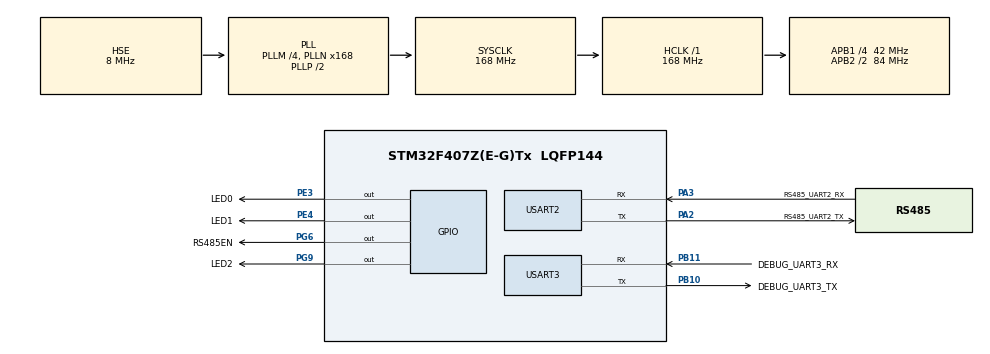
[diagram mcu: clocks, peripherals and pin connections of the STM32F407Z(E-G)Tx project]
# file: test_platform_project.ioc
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FREERTOS.Mutexes01=MutexPrintf,Dynamic,NULL
FREERTOS.Tasks01=defaultTask,0,128,StartDefaultTask,Default,NULL
FREERTOS.configUSE_IDLE_HOOK=1
FREERTOS.configUSE_MALLOC_FAILED_HOOK=1
FREERTOS.configUSE_TICK_HOOK=1
FREERTOS.configUSE_TIMERS=1
Mcu.Family=STM32F4
Mcu.Name=STM32F407Z(E-G)Tx
Mcu.Package=LQFP144
NVIC.PriorityGroup=NVIC_PRIORITYGROUP_4
NVIC.TIM7_IRQn=true\:0\:0\:false\:false\:true\:false\:false\:true
NVIC.TimeBase=TIM7_IRQn
NVIC.TimeBaseIP=TIM7
NVIC.USART2_IRQn=true\:5\:0\:false\:false\:true\:true\:true\:true
NVIC.USART3_IRQn=true\:5\:0\:false\:false\:true\:true\:true\:true
PA2.GPIO_Label=RS485_UART2_TX
PA2.Mode=Asynchronous
PA2.Signal=USART2_TX
PA3.GPIO_Label=RS485_UART2_RX
PA3.Mode=Asynchronous
PA3.Signal=USART2_RX
PB10.GPIO_Label=DEBUG_UART3_TX
PB10.Mode=Asynchronous
PB10.Signal=USART3_TX
PB11.GPIO_Label=DEBUG_UART3_RX
PB11.Mode=Asynchronous
PB11.Signal=USART3_RX
PE3.GPIO_Label=LED0
PE3.Signal=GPIO_Output
PE4.GPIO_Label=LED1
PE4.Signal=GPIO_Output
PG6.GPIO_Label=RS485EN
PG6.Signal=GPIO_Output
PG9.GPIO_Label=LED2
PG9.Signal=GPIO_Output
PH0-OSC_IN.Mode=HSE-External-Oscillator
PH0-OSC_IN.Signal=RCC_OSC_IN
PH1-OSC_OUT.Mode=HSE-External-Oscillator
PH1-OSC_OUT.Signal=RCC_OSC_OUT
ProjectManager.HeapSize=0x200
ProjectManager.StackSize=0x400
ProjectManager.TargetToolchain=MDK-ARM V5
RCC.48MHZClocksFreq_Value=84000000
RCC.AHBFreq_Value=168000000
RCC.APB1CLKDivider=RCC_HCLK_DIV4
RCC.APB1Freq_Value=42000000
RCC.APB1TimFreq_Value=84000000
RCC.APB2CLKDivider=RCC_HCLK_DIV2
RCC.APB2Freq_Value=84000000
RCC.APB2TimFreq_Value=168000000
RCC.CortexFreq_Value=168000000
RCC.HCLKFreq_Value=168000000
RCC.HSE_VALUE=8000000
RCC.HSI_VALUE=16000000
RCC.LSE_VALUE=32768
RCC.PLLM=4
RCC.PLLN=168
RCC.PLLSourceVirtual=RCC_PLLSOURCE_HSE
RCC.SYSCLKFreq_VALUE=168000000
RCC.SYSCLKSource=RCC_SYSCLKSOURCE_PLLCLK
RCC.VCOOutputFreq_Value=336000000
USART2.VirtualMode=VM_ASYNC
USART3.VirtualMode=VM_ASYNC
VP_FREERTOS_VS_CMSIS_V1.Mode=CMSIS_V1
VP_SYS_VS_tim7.Mode=TIM7
board=custom

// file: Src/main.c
/* USER CODE BEGIN Header */
/**
  ******************************************************************************
  * @file           : main.c
  * @brief          : Main program body
  ******************************************************************************
  * @attention
  *
  * <h2><center>&copy; Copyright (c) 2020 STMicroelectronics.
  * All rights reserved.</center></h2>
  *
  * This software component is licensed by ST under Ultimate Liberty license
  * SLA0044, the "License"; You may not use this file except in compliance with
  * the License. You may obtain a copy of the License at:
  *                             www.st.com/SLA0044
  *
  ******************************************************************************
  */
/* USER CODE END Header */

#include "main.h"
#include "cmsis_os.h"
#include "usart.h"
#include "gpio.h"

void SystemClock_Config(void);
void MX_FREERTOS_Init(void);

int main(void)
{

  /* MCU Configuration--------------------------------------------------------*/

  /* Reset of all peripherals, Initializes the Flash interface and the Systick. */
  HAL_Init();

  /* Configure the system clock */
  SystemClock_Config();

  /* Initialize all configured peripherals */
  MX_GPIO_Init();
  MX_USART2_UART_Init();
  MX_USART3_UART_Init();

  /* Call init function for freertos objects (in freertos.c) */
  MX_FREERTOS_Init();

  /* Start scheduler */
  osKernelStart();

  /* We should never get here as control is now taken by the scheduler */

  /* Infinite loop */
  while (1)
  {

  }
}

void SystemClock_Config(void)
{
  RCC_OscInitTypeDef RCC_OscInitStruct = {0};
  RCC_ClkInitTypeDef RCC_ClkInitStruct = {0};

  /** Configure the main internal regulator output voltage
  */
  __HAL_RCC_PWR_CLK_ENABLE();
  __HAL_PWR_VOLTAGESCALING_CONFIG(PWR_REGULATOR_VOLTAGE_SCALE1);
  /** Initializes the CPU, AHB and APB busses clocks
  */
  RCC_OscInitStruct.OscillatorType = RCC_OSCILLATORTYPE_HSE;
  RCC_OscInitStruct.HSEState = RCC_HSE_ON;
  RCC_OscInitStruct.PLL.PLLState = RCC_PLL_ON;
  RCC_OscInitStruct.PLL.PLLSource = RCC_PLLSOURCE_HSE;
  RCC_OscInitStruct.PLL.PLLM = 4;
  RCC_OscInitStruct.PLL.PLLN = 168;
  RCC_OscInitStruct.PLL.PLLP = RCC_PLLP_DIV2;
  RCC_OscInitStruct.PLL.PLLQ = 4;
  if (HAL_RCC_OscConfig(&RCC_OscInitStruct) != HAL_OK)
  {
    Error_Handler();
  }
  /** Initializes the CPU, AHB and APB busses clocks
  */
  RCC_ClkInitStruct.ClockType = RCC_CLOCKTYPE_HCLK|RCC_CLOCKTYPE_SYSCLK
                              |RCC_CLOCKTYPE_PCLK1|RCC_CLOCKTYPE_PCLK2;
  RCC_ClkInitStruct.SYSCLKSource = RCC_SYSCLKSOURCE_PLLCLK;
  RCC_ClkInitStruct.AHBCLKDivider = RCC_SYSCLK_DIV1;
  RCC_ClkInitStruct.APB1CLKDivider = RCC_HCLK_DIV4;
  RCC_ClkInitStruct.APB2CLKDivider = RCC_HCLK_DIV2;

  if (HAL_RCC_ClockConfig(&RCC_ClkInitStruct, FLASH_LATENCY_5) != HAL_OK)
  {
    Error_Handler();
  }
}

void HAL_TIM_PeriodElapsedCallback(TIM_HandleTypeDef *htim)
{
  if (htim->Instance == TIM7) {
    HAL_IncTick();
  }
}

void Error_Handler(void)
{
}

/************************ (C) COPYRIGHT STMicroelectronics *****END OF FILE****/

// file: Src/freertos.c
/* USER CODE BEGIN Header */
/**
  ******************************************************************************
  * File Name          : freertos.c
  * Description        : Code for freertos applications
  ******************************************************************************
  * @attention
  *
  * <h2><center>&copy; Copyright (c) 2020 STMicroelectronics.
  * All rights reserved.</center></h2>
  *
  * This software component is licensed by ST under Ultimate Liberty license
  * SLA0044, the "License"; You may not use this file except in compliance with
  * the License. You may obtain a copy of the License at:
  *                             www.st.com/SLA0044
  *
  ******************************************************************************
  */
/* USER CODE END Header */

#include "FreeRTOS.h"
#include "task.h"
#include "main.h"
#include "cmsis_os.h"

/* USER CODE BEGIN Includes */
#include "user_mb_app.h"
#include "rs485.h"
/* USER CODE END Includes */

/* USER CODE BEGIN PM */

void ModbusTestTask(void const * argument);
/* USER CODE END PM */

/* USER CODE BEGIN Variables */
osThreadId modbusTaskHandle;
/* USER CODE END Variables */
osThreadId defaultTaskHandle;
osMutexId MutexPrintfHandle;

void StartDefaultTask(void const * argument);

void MX_FREERTOS_Init(void); /* (MISRA C 2004 rule 8.1) */

/* Hook prototypes */
void vApplicationIdleHook(void);
void vApplicationTickHook(void);
void vApplicationMallocFailedHook(void);

/* USER CODE BEGIN 2 */
__weak void vApplicationIdleHook( void )
{
   /* vApplicationIdleHook() will only be called if configUSE_IDLE_HOOK is set
   to 1 in FreeRTOSConfig.h. It will be called on each iteration of the idle
   task. It is essential that code added to this hook function never attempts
   to block in any way (for example, call xQueueReceive() with a block time
   specified, or call vTaskDelay()). If the application makes use of the
   vTaskDelete() API function (as this demo application does) then it is also
   important that vApplicationIdleHook() is permitted to return to its calling
   function, because it is the responsibility of the idle task to clean up
   memory allocated by the kernel to any task that has since been deleted. */
	static uint8_t invers = 0;
	static uint32_t last_tick = 0;
	if(HAL_GetTick() > (last_tick + 500))
	{
//		sysStateLedCtrl(SYS_RUN_YLED, invers);
		HAL_GPIO_WritePin(LED0_GPIO_Port, LED0_Pin, (GPIO_PinState)invers);
		invers = (invers ^ 0x01) & 0x01;
		last_tick = HAL_GetTick();
//		eMBMasterReqWriteCoil(1,8,0xFF00,0xfffffff);
	}
}
/* USER CODE END 2 */

/* USER CODE BEGIN 3 */
__weak void vApplicationTickHook( void )
{
   /* This function will be called by each tick interrupt if
   configUSE_TICK_HOOK is set to 1 in FreeRTOSConfig.h. User code can be
   added here, but the tick hook is called from an interrupt context, so
   code must not attempt to block, and only the interrupt safe FreeRTOS API
   functions can be used (those that end in FromISR()). */
}
/* USER CODE END 3 */

/* USER CODE BEGIN 5 */
__weak void vApplicationMallocFailedHook(void)
{
   /* vApplicationMallocFailedHook() will only be called if
   configUSE_MALLOC_FAILED_HOOK is set to 1 in FreeRTOSConfig.h. It is a hook
   function that will get called if a call to pvPortMalloc() fails.
   pvPortMalloc() is called internally by the kernel whenever a task, queue,
   timer or semaphore is created. It is also called by various parts of the
   demo application. If heap_1.c or heap_2.c are used, then the size of the
   heap available to pvPortMalloc() is defined by configTOTAL_HEAP_SIZE in
   FreeRTOSConfig.h, and the xPortGetFreeHeapSize() API function can be used
   to query the size of free heap space that remains (although it does not
   provide information on how the remaining heap might be fragmented). */
}
/* USER CODE END 5 */

void MX_FREERTOS_Init(void) {

  /* Create the mutex(es) */
  /* definition and creation of MutexPrintf */
  osMutexDef(MutexPrintf);
  MutexPrintfHandle = osMutexCreate(osMutex(MutexPrintf));

  /* Create the thread(s) */
  /* definition and creation of defaultTask */
  osThreadDef(defaultTask, StartDefaultTask, osPriorityNormal, 0, 1024);
  defaultTaskHandle = osThreadCreate(osThread(defaultTask), NULL);

   osThreadDef(ModbusTest, ModbusTestTask, osPriorityBelowNormal, 0, 1024);
  modbusTaskHandle = osThreadCreate(osThread(ModbusTest), NULL);

}

/* USER CODE BEGIN Header_StartDefaultTask */
/**
  * @brief  Function implementing the defaultTask thread.
  * @param  argument: Not used
  * @retval None
  */
uint16_t uartTransmit(uint8_t *pData, uint16_t Size, uint32_t Timeout);
/* USER CODE END Header_StartDefaultTask */
void StartDefaultTask(void const * argument)
{

  /* USER CODE BEGIN StartDefaultTask */
	eMBMasterInit(MB_RTU, 2, 9600,  MB_PAR_NONE);
	eMBMasterEnable();
  /* Infinite loop */
  for(;;)
  {
//	  printf("\r\n task run");
//	  RS485_TX_EN();
//	  uartTransmit((uint8_t *)"hello",sizeof("hello"),100);
//      osDelay(1000);

	  eMBMasterPoll();
  }
  /* USER CODE END StartDefaultTask */
}

/* USER CODE BEGIN Application */

void ModbusTestTask(void const * argument)
{

  /* USER CODE BEGIN StartDefaultTask */
  /* Infinite loop */
	eMBMasterReqErrCode    errorCode = MB_MRE_NO_ERR;
	uint16_t errorCount = 0;
	static uint16_t data = 0;
  for(;;)
  {
//	  printf("\r\n task run");
//	  RS485_TX_EN();
//	  uartTransmit((uint8_t *)"hello",sizeof("hello"),100);
	  osDelay(1000);
//	  errorCode = eMBMasterReqWriteCoil(1,8,0xFF00,0xfffffff);
//	  errorCode = eMBMasterReqReadHoldingRegister(1,0,2,0xfffffff);
	  errorCode = eMBMasterReqWriteHoldingRegister(1,4,data++,0xfffffff);
	  if(errorCode != MB_MRE_NO_ERR)
	  {
		  printf("\r\neMBMasterReqWriteCoil error: %d",errorCode);
	  }
	  else
	  {
		printf("\r\neMBMasterReqWriteCoil success!");
	  }

//	  eMBMasterPoll();
  }
  /* USER CODE END StartDefaultTask */
}
/* USER CODE END Application */

/************************ (C) COPYRIGHT STMicroelectronics *****END OF FILE****/
